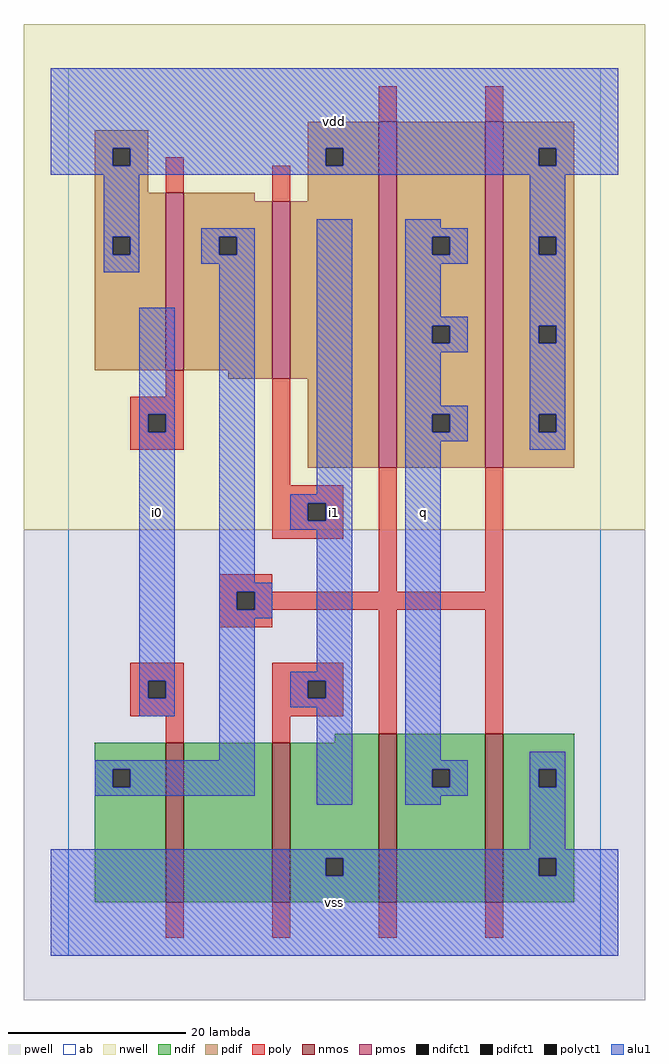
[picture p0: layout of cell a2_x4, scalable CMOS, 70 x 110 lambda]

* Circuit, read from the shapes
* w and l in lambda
.subckt a2_x4 i0 i1 q vdd vss
M1 n1 i0 n2 VSUBS nfet w=18 l=2
M2 vss i1 n1 VSUBS nfet w=18 l=2
M3 q n2 vss VSUBS nfet w=19 l=2 m=2
M4 n2 i0 vdd n3 pfet w=20 l=2
M5 vdd i1 n2 n3 pfet w=20 l=2
M6 q n2 vdd n3 pfet w=39 l=2 m=2
.ends

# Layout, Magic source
magic
tech scmos
<< ab >>
rect 0 0 60 100
<< nwell >>
rect -5 48 65 105
<< pwell >>
rect -5 -5 65 48
<< poly >>
rect 35 94 37 98
rect 47 94 49 98
rect 11 86 13 90
rect 23 85 25 89
rect 11 63 13 66
rect 7 61 13 63
rect 7 59 9 61
rect 11 59 13 61
rect 7 57 13 59
rect 23 53 25 65
rect 23 51 31 53
rect 23 49 27 51
rect 29 49 31 51
rect 23 47 31 49
rect 17 41 23 43
rect 35 41 37 55
rect 47 41 49 55
rect 17 39 19 41
rect 21 39 49 41
rect 17 37 23 39
rect 7 31 13 33
rect 7 29 9 31
rect 11 29 13 31
rect 7 27 13 29
rect 11 24 13 27
rect 23 31 31 33
rect 23 29 27 31
rect 29 29 31 31
rect 23 27 31 29
rect 23 24 25 27
rect 35 25 37 39
rect 47 25 49 39
rect 11 2 13 6
rect 23 2 25 6
rect 35 2 37 6
rect 47 2 49 6
<< ndif >>
rect 30 24 35 25
rect 3 21 11 24
rect 3 19 5 21
rect 7 19 11 21
rect 3 6 11 19
rect 13 6 23 24
rect 25 11 35 24
rect 25 9 29 11
rect 31 9 35 11
rect 25 6 35 9
rect 37 21 47 25
rect 37 19 41 21
rect 43 19 47 21
rect 37 6 47 19
rect 49 21 57 25
rect 49 19 53 21
rect 55 19 57 21
rect 49 11 57 19
rect 49 9 53 11
rect 55 9 57 11
rect 49 6 57 9
<< pdif >>
rect 3 91 9 93
rect 3 89 5 91
rect 7 89 9 91
rect 27 91 35 94
rect 3 86 9 89
rect 27 89 29 91
rect 31 89 35 91
rect 3 81 11 86
rect 3 79 5 81
rect 7 79 11 81
rect 3 66 11 79
rect 13 85 21 86
rect 27 85 35 89
rect 13 81 23 85
rect 13 79 17 81
rect 19 79 23 81
rect 13 66 23 79
rect 18 65 23 66
rect 25 65 35 85
rect 27 55 35 65
rect 37 81 47 94
rect 37 79 41 81
rect 43 79 47 81
rect 37 71 47 79
rect 37 69 41 71
rect 43 69 47 71
rect 37 61 47 69
rect 37 59 41 61
rect 43 59 47 61
rect 37 55 47 59
rect 49 91 57 94
rect 49 89 53 91
rect 55 89 57 91
rect 49 81 57 89
rect 49 79 53 81
rect 55 79 57 81
rect 49 71 57 79
rect 49 69 53 71
rect 55 69 57 71
rect 49 61 57 69
rect 49 59 53 61
rect 55 59 57 61
rect 49 55 57 59
<< alu1 >>
rect -2 91 62 100
rect -2 89 5 91
rect 7 89 29 91
rect 31 89 53 91
rect 55 89 62 91
rect -2 88 62 89
rect 4 81 8 88
rect 4 79 5 81
rect 7 79 8 81
rect 4 77 8 79
rect 15 81 21 82
rect 15 79 17 81
rect 19 79 21 81
rect 15 78 21 79
rect 8 61 12 73
rect 8 59 9 61
rect 11 59 12 61
rect 8 31 12 59
rect 8 29 9 31
rect 11 29 12 31
rect 8 27 12 29
rect 17 42 21 78
rect 28 52 32 83
rect 25 51 32 52
rect 25 49 27 51
rect 29 49 32 51
rect 25 48 32 49
rect 17 41 23 42
rect 17 39 19 41
rect 21 39 23 41
rect 17 38 23 39
rect 17 22 21 38
rect 28 32 32 48
rect 25 31 32 32
rect 25 29 27 31
rect 29 29 32 31
rect 25 28 32 29
rect 3 21 21 22
rect 3 19 5 21
rect 7 19 21 21
rect 3 18 21 19
rect 28 17 32 28
rect 38 82 42 83
rect 38 81 45 82
rect 38 79 41 81
rect 43 79 45 81
rect 38 78 45 79
rect 52 81 56 88
rect 52 79 53 81
rect 55 79 56 81
rect 38 72 42 78
rect 38 71 45 72
rect 38 69 41 71
rect 43 69 45 71
rect 38 68 45 69
rect 52 71 56 79
rect 52 69 53 71
rect 55 69 56 71
rect 38 62 42 68
rect 38 61 45 62
rect 38 59 41 61
rect 43 59 45 61
rect 38 58 45 59
rect 52 61 56 69
rect 52 59 53 61
rect 55 59 56 61
rect 38 22 42 58
rect 52 57 56 59
rect 38 21 45 22
rect 38 19 41 21
rect 43 19 45 21
rect 38 18 45 19
rect 52 21 56 23
rect 52 19 53 21
rect 55 19 56 21
rect 38 17 42 18
rect 52 12 56 19
rect -2 11 62 12
rect -2 9 29 11
rect 31 9 53 11
rect 55 9 62 11
rect -2 0 62 9
<< nmos >>
rect 11 6 13 24
rect 23 6 25 24
rect 35 6 37 25
rect 47 6 49 25
<< pmos >>
rect 11 66 13 86
rect 23 65 25 85
rect 35 55 37 94
rect 47 55 49 94
<< polyct1 >>
rect 9 59 11 61
rect 27 49 29 51
rect 19 39 21 41
rect 9 29 11 31
rect 27 29 29 31
<< ndifct1 >>
rect 5 19 7 21
rect 29 9 31 11
rect 41 19 43 21
rect 53 19 55 21
rect 53 9 55 11
<< pdifct1 >>
rect 5 89 7 91
rect 29 89 31 91
rect 5 79 7 81
rect 17 79 19 81
rect 41 79 43 81
rect 41 69 43 71
rect 41 59 43 61
rect 53 89 55 91
rect 53 79 55 81
rect 53 69 55 71
rect 53 59 55 61
<< labels >>
rlabel alu1 10 50 10 50 6 i0
rlabel alu1 30 6 30 6 6 vss
rlabel alu1 40 50 40 50 6 q
rlabel alu1 30 50 30 50 6 i1
rlabel alu1 30 94 30 94 6 vdd
<< end >>
